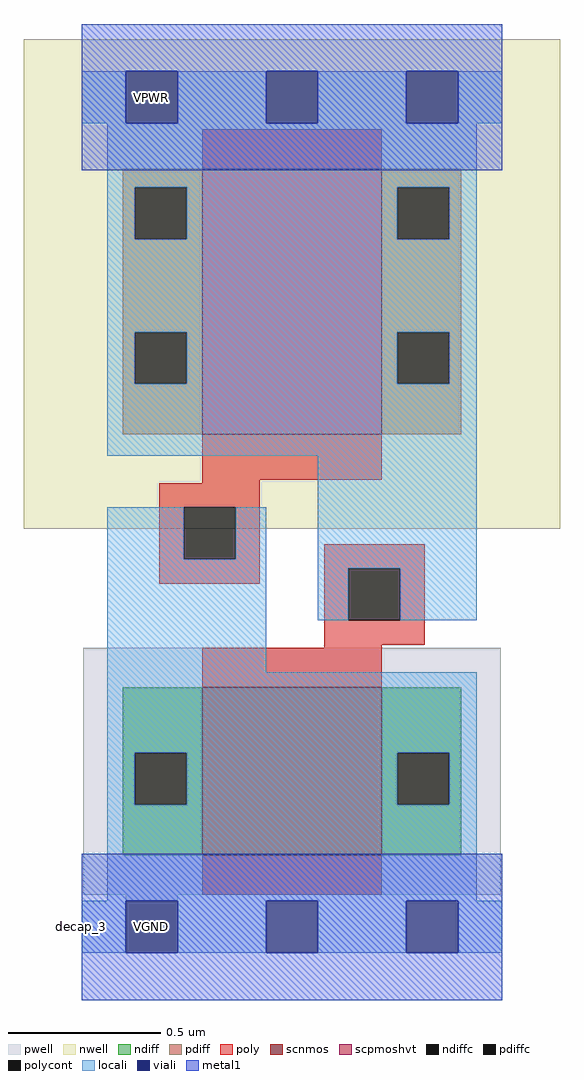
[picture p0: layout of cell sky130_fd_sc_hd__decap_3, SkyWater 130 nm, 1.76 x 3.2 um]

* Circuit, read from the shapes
.subckt sky130_fd_sc_hd__decap_3 VPWR VGND VPB VNB
XM1 VGND VPWR VGND VNB sky130_fd_pr__nfet_01v8 w=0.55 l=0.59
XM2 VPWR VGND VPWR VPB sky130_fd_pr__pfet_01v8_hvt w=0.87 l=0.59
.ends

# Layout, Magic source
magic
tech sky130B
magscale 1 2
<< nwell >>
rect -38 221 314 542
<< pwell >>
rect 1 -19 275 143
rect 29 -57 63 -19
<< scnmos >>
rect 79 7 197 117
<< scpmoshvt >>
rect 79 283 197 457
<< ndiff >>
rect 27 74 79 117
rect 27 40 35 74
rect 69 40 79 74
rect 27 7 79 40
rect 197 74 249 117
rect 197 40 207 74
rect 241 40 249 74
rect 197 7 249 40
<< pdiff >>
rect 27 445 79 457
rect 27 411 35 445
rect 69 411 79 445
rect 27 350 79 411
rect 27 316 35 350
rect 69 316 79 350
rect 27 283 79 316
rect 197 445 249 457
rect 197 411 207 445
rect 241 411 249 445
rect 197 350 249 411
rect 197 316 207 350
rect 241 316 249 350
rect 197 283 249 316
<< ndiffc >>
rect 35 40 69 74
rect 207 40 241 74
<< pdiffc >>
rect 35 411 69 445
rect 35 316 69 350
rect 207 411 241 445
rect 207 316 241 350
<< poly >>
rect 79 457 197 483
rect 79 253 197 283
rect 79 251 117 253
rect 51 235 117 251
rect 51 201 67 235
rect 101 201 117 235
rect 51 185 117 201
rect 159 195 225 211
rect 159 161 175 195
rect 209 161 225 195
rect 159 145 225 161
rect 159 143 197 145
rect 79 117 197 143
rect 79 -19 197 7
<< polycont >>
rect 67 201 101 235
rect 175 161 209 195
<< locali >>
rect 0 487 29 521
rect 63 487 121 521
rect 155 487 213 521
rect 247 487 276 521
rect 17 445 259 487
rect 17 411 35 445
rect 69 411 207 445
rect 241 411 259 445
rect 17 350 259 411
rect 17 316 35 350
rect 69 316 207 350
rect 241 316 259 350
rect 17 269 259 316
rect 17 201 67 235
rect 101 201 121 235
rect 17 127 121 201
rect 155 195 259 269
rect 155 161 175 195
rect 209 161 259 195
rect 17 74 259 127
rect 17 40 35 74
rect 69 40 207 74
rect 241 40 259 74
rect 17 -23 259 40
rect 0 -57 29 -23
rect 63 -57 121 -23
rect 155 -57 213 -23
rect 247 -57 276 -23
<< viali >>
rect 29 487 63 521
rect 121 487 155 521
rect 213 487 247 521
rect 29 -57 63 -23
rect 121 -57 155 -23
rect 213 -57 247 -23
<< metal1 >>
rect 0 521 276 552
rect 0 487 29 521
rect 63 487 121 521
rect 155 487 213 521
rect 247 487 276 521
rect 0 456 276 487
rect 0 -23 276 8
rect 0 -57 29 -23
rect 63 -57 121 -23
rect 155 -57 213 -23
rect 247 -57 276 -23
rect 0 -88 276 -57
<< labels >>
rlabel comment s 0 -40 0 -40 4 decap_3
flabel metal1 s 29 487 63 521 0 FreeSans 200 0 0 0 VPWR
port 2 nsew
flabel metal1 s 29 -57 63 -23 0 FreeSans 200 0 0 0 VGND
port 3 nsew
flabel nwell s 29 487 63 521 0 FreeSans 200 0 0 0 VPB
port 5 nsew
flabel pwell s 29 -57 63 -23 0 FreeSans 200 0 0 0 VNB
port 6 nsew
<< properties >>
string FIXED_BBOX 0 -40 276 504
string path 0.000 -1.000 6.900 -1.000 
<< end >>
